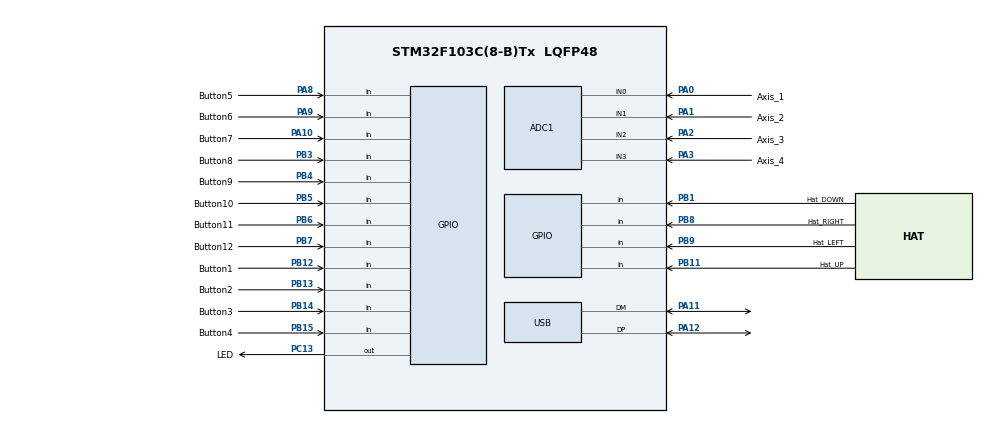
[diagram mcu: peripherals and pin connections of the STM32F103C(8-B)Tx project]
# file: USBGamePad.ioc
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ADC1.Channel-0\#ChannelRegularConversion=ADC_CHANNEL_0
ADC1.Channel-1\#ChannelRegularConversion=ADC_CHANNEL_1
ADC1.Channel-2\#ChannelRegularConversion=ADC_CHANNEL_2
ADC1.Channel-3\#ChannelRegularConversion=ADC_CHANNEL_3
ADC1.ContinuousConvMode=DISABLE
ADC1.DataAlign=ADC_DATAALIGN_RIGHT
ADC1.DiscontinuousConvMode=DISABLE
ADC1.EnableAnalogWatchDog=false
ADC1.EnableRegularConversion=ENABLE
ADC1.ExternalTrigConv=ADC_EXTERNALTRIGCONV_T3_TRGO
ADC1.InjNumberOfConversion=0
ADC1.NbrOfConversion=4
ADC1.NbrOfConversionFlag=1
ADC1.Rank-0\#ChannelRegularConversion=1
ADC1.Rank-1\#ChannelRegularConversion=2
ADC1.Rank-2\#ChannelRegularConversion=3
ADC1.Rank-3\#ChannelRegularConversion=4
ADC1.SamplingTime-0\#ChannelRegularConversion=ADC_SAMPLETIME_28CYCLES_5
ADC1.SamplingTime-1\#ChannelRegularConversion=ADC_SAMPLETIME_28CYCLES_5
ADC1.SamplingTime-2\#ChannelRegularConversion=ADC_SAMPLETIME_28CYCLES_5
ADC1.SamplingTime-3\#ChannelRegularConversion=ADC_SAMPLETIME_28CYCLES_5
ADC1.ScanConvMode=ADC_SCAN_ENABLE
ADC1.master=1
Dma.ADC1.0.Direction=DMA_PERIPH_TO_MEMORY
Dma.ADC1.0.Instance=DMA1_Channel1
Dma.ADC1.0.MemDataAlignment=DMA_MDATAALIGN_HALFWORD
Dma.ADC1.0.MemInc=DMA_MINC_ENABLE
Dma.ADC1.0.Mode=DMA_CIRCULAR
Dma.ADC1.0.PeriphDataAlignment=DMA_PDATAALIGN_HALFWORD
Dma.ADC1.0.PeriphInc=DMA_PINC_DISABLE
Dma.ADC1.0.Priority=DMA_PRIORITY_MEDIUM
Dma.Request0=ADC1
Mcu.Family=STM32F1
Mcu.Name=STM32F103C(8-B)Tx
Mcu.Package=LQFP48
NVIC.DMA1_Channel1_IRQn=true\:0\:0\:false\:false\:true\:false
NVIC.PriorityGroup=NVIC_PRIORITYGROUP_4
NVIC.TIM2_IRQn=true\:0\:0\:false\:false\:true\:true
NVIC.USB_LP_CAN1_RX0_IRQn=true\:0\:0\:false\:false\:true\:false
PA0-WKUP.GPIO_Label=Axis_1
PA0-WKUP.Signal=ADCx_IN0
PA1.GPIO_Label=Axis_2
PA1.Signal=ADCx_IN1
PA10.GPIO_Label=Button7
PA10.GPIO_PuPd=GPIO_PULLUP
PA10.Signal=GPIO_Input
PA11.Mode=Device
PA11.Signal=USB_DM
PA12.Mode=Device
PA12.Signal=USB_DP
PA13.Mode=Serial_Wire
PA13.Signal=SYS_JTMS-SWDIO
PA14.Mode=Serial_Wire
PA14.Signal=SYS_JTCK-SWCLK
PA2.GPIO_Label=Axis_3
PA2.Signal=ADCx_IN2
PA3.GPIO_Label=Axis_4
PA3.Signal=ADCx_IN3
PA8.GPIO_Label=Button5
PA8.GPIO_PuPd=GPIO_PULLUP
PA8.Signal=GPIO_Input
PA9.GPIO_Label=Button6
PA9.GPIO_PuPd=GPIO_PULLUP
PA9.Signal=GPIO_Input
PB1.GPIO_Label=Hat_DOWN
PB1.GPIO_PuPd=GPIO_PULLUP
PB1.Signal=GPIO_Input
PB11.GPIO_Label=Hat_UP
PB11.GPIO_PuPd=GPIO_PULLUP
PB11.Signal=GPIO_Input
PB12.GPIO_Label=Button1
PB12.GPIO_PuPd=GPIO_PULLUP
PB12.Signal=GPIO_Input
PB13.GPIO_Label=Button2
PB13.GPIO_PuPd=GPIO_PULLUP
PB13.Signal=GPIO_Input
PB14.GPIO_Label=Button3
PB14.GPIO_PuPd=GPIO_PULLUP
PB14.Signal=GPIO_Input
PB15.GPIO_Label=Button4
PB15.GPIO_PuPd=GPIO_PULLUP
PB15.Signal=GPIO_Input
PB3.GPIO_Label=Button8
PB3.GPIO_PuPd=GPIO_PULLUP
PB3.Signal=GPIO_Input
PB4.GPIO_Label=Button9
PB4.GPIO_PuPd=GPIO_PULLUP
PB4.Signal=GPIO_Input
PB5.GPIO_Label=Button10
PB5.GPIO_PuPd=GPIO_PULLUP
PB5.Signal=GPIO_Input
PB6.GPIO_Label=Button11
PB6.GPIO_PuPd=GPIO_PULLUP
PB6.Signal=GPIO_Input
PB7.GPIO_Label=Button12
PB7.GPIO_PuPd=GPIO_PULLUP
PB7.Signal=GPIO_Input
PB8.GPIO_Label=Hat_RIGHT
PB8.GPIO_PuPd=GPIO_PULLUP
PB8.Signal=GPIO_Input
PB9.GPIO_Label=Hat_LEFT
PB9.GPIO_PuPd=GPIO_PULLUP
PB9.Signal=GPIO_Input
PC13-TAMPER-RTC.GPIO_Label=LED
PC13-TAMPER-RTC.GPIO_Speed=GPIO_SPEED_FREQ_HIGH
PC13-TAMPER-RTC.Signal=GPIO_Output
PD0-OSC_IN.Mode=HSE-External-Oscillator
PD0-OSC_IN.Signal=RCC_OSC_IN
PD1-OSC_OUT.Mode=HSE-External-Oscillator
PD1-OSC_OUT.Signal=RCC_OSC_OUT
ProjectManager.HeapSize=0x200
ProjectManager.StackSize=0x400
ProjectManager.TargetToolchain=MDK-ARM V5
RCC.ADCPresc=RCC_ADCPCLK2_DIV6
RCC.AHBFreq_Value=72000000
RCC.APB1CLKDivider=RCC_HCLK_DIV2
RCC.APB1Freq_Value=36000000
RCC.APB1TimFreq_Value=72000000
RCC.APB2Freq_Value=72000000
RCC.APB2TimFreq_Value=72000000
RCC.HCLKFreq_Value=72000000
RCC.PLLMUL=RCC_PLL_MUL9
RCC.PLLSourceVirtual=RCC_PLLSOURCE_HSE
RCC.SYSCLKFreq_VALUE=72000000
RCC.SYSCLKSource=RCC_SYSCLKSOURCE_PLLCLK
RCC.USBFreq_Value=48000000
RCC.USBPrescaler=RCC_USBCLKSOURCE_PLL_DIV1_5
SH.ADCx_IN0.0=ADC1_IN0,IN0
SH.ADCx_IN1.0=ADC1_IN1,IN1
SH.ADCx_IN2.0=ADC1_IN2,IN2
SH.ADCx_IN3.0=ADC1_IN3,IN3
TIM2.Period=5000-1
TIM2.Prescaler=72-1
TIM3.Period=1000
TIM3.Prescaler=72
TIM3.TIM_MasterOutputTrigger=TIM_TRGO_UPDATE
USB.ep0_mps=DEP0CTL_MPS_64
USB_DEVICE.CLASS_NAME_FS=CUSTOMHID
USB_DEVICE.USBD_CUSTOM_HID_REPORT_DESC_SIZE=79
USB_DEVICE.VirtualMode=CustomHid
USB_DEVICE.VirtualModeFS=Custom_Hid_FS
VP_TIM2_VS_ClockSourceINT.Mode=Internal
VP_TIM3_VS_ClockSourceINT.Mode=Internal
VP_USB_DEVICE_VS_USB_DEVICE_CUSTOM_HID_FS.Mode=CUSTOM_HID_FS
board=custom

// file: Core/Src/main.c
/**
  ******************************************************************************
  * @file           : main.c
  * @brief          : Main program body
  ******************************************************************************
  * This notice applies to any and all portions of this file
  * that are not between comment pairs USER CODE BEGIN and
  * USER CODE END. Other portions of this file, whether
  * inserted by the user or by software development tools
  * are owned by their respective copyright owners.
  *
  * Copyright (c) 2018 STMicroelectronics International N.V.
  * All rights reserved.
  *
  * Redistribution and use in source and binary forms, with or without
  * modification, are permitted, provided that the following conditions are met:
  *
  * 1. Redistribution of source code must retain the above copyright notice,
  *    this list of conditions and the following disclaimer.
  * 2. Redistributions in binary form must reproduce the above copyright notice,
  *    this list of conditions and the following disclaimer in the documentation
  *    and/or other materials provided with the distribution.
  * 3. Neither the name of STMicroelectronics nor the names of other
  *    contributors to this software may be used to endorse or promote products
  *    derived from this software without specific written permission.
  * 4. This software, including modifications and/or derivative works of this
  *    software, must execute solely and exclusively on microcontroller or
  *    microprocessor devices manufactured by or for STMicroelectronics.
  * 5. Redistribution and use of this software other than as permitted under
  *    this license is void and will automatically terminate your rights under
  *    this license.
  *
  * THIS SOFTWARE IS PROVIDED BY STMICROELECTRONICS AND CONTRIBUTORS "AS IS"
  * AND ANY EXPRESS, IMPLIED OR STATUTORY WARRANTIES, INCLUDING, BUT NOT
  * LIMITED TO, THE IMPLIED WARRANTIES OF MERCHANTABILITY, FITNESS FOR A
  * PARTICULAR PURPOSE AND NON-INFRINGEMENT OF THIRD PARTY INTELLECTUAL PROPERTY
  * RIGHTS ARE DISCLAIMED TO THE FULLEST EXTENT PERMITTED BY LAW. IN NO EVENT
  * SHALL STMICROELECTRONICS OR CONTRIBUTORS BE LIABLE FOR ANY DIRECT, INDIRECT,
  * INCIDENTAL, SPECIAL, EXEMPLARY, OR CONSEQUENTIAL DAMAGES (INCLUDING, BUT NOT
  * LIMITED TO, PROCUREMENT OF SUBSTITUTE GOODS OR SERVICES; LOSS OF USE, DATA,
  * OR PROFITS; OR BUSINESS INTERRUPTION) HOWEVER CAUSED AND ON ANY THEORY OF
  * LIABILITY, WHETHER IN CONTRACT, STRICT LIABILITY, OR TORT (INCLUDING
  * NEGLIGENCE OR OTHERWISE) ARISING IN ANY WAY OUT OF THE USE OF THIS SOFTWARE,
  * EVEN IF ADVISED OF THE POSSIBILITY OF SUCH DAMAGE.
  *
  ******************************************************************************
  */
#include "main.h"
#include "stm32f1xx_hal.h"
#include "adc.h"
#include "dma.h"
#include "tim.h"
#include "usb_device.h"
#include "gpio.h"

/* USER CODE BEGIN Includes */
#include "multi_button.h"
/* USER CODE END Includes */

/* USER CODE BEGIN PV */
/* Private variables ---------------------------------------------------------*/
struct Button key1,key2,key3,key4,key5,key6,key7,key8,key9,key10,key11,key12,key13,key14,key15,key16;

uint16_t keyflag=0;//total 12 keys

#define BIT0 0x01
#define BIT1 0x02
#define BIT2 0x04
#define BIT3 0x08
#define BIT4 0x10
#define BIT5 0x20
#define BIT6 0x40
#define BIT7 0x80
#define BIT8 0x100
#define BIT9 0x200
#define BIT10 0x400
#define BIT11 0x800
#define BIT12 0x1000
#define BIT13 0x2000
#define BIT14 0x4000
#define BIT15 0x8000

/* USER CODE END PV */

void SystemClock_Config(void);

/* USER CODE BEGIN PFP */
/* Private function prototypes -----------------------------------------------*/

/* USER CODE END PFP */

/* USER CODE BEGIN 0 */

typedef enum {
	TM_USB_HIDDEVICE_Button_Released = 0x00, /*!< Button is not pressed */
	TM_USB_HIDDEVICE_Button_Pressed = 0x01   /*!< Button is pressed */
} TM_USB_HIDDEVICE_Button_t;

typedef enum {
	TM_USB_HIDDEVICE_HATSWITCH_NULL_STATE = 128, /*!< null state */
	TM_USB_HIDDEVICE_HATSWITCH_UP = 0,
	TM_USB_HIDDEVICE_HATSWITCH_RIGHT_UP = 1,
	TM_USB_HIDDEVICE_HATSWITCH_RIGHT = 2,
	TM_USB_HIDDEVICE_HATSWITCH_RIGHT_DOWN = 3,
	TM_USB_HIDDEVICE_HATSWITCH_DOWN = 4,
	TM_USB_HIDDEVICE_HATSWITCH_LEFT_DOWN = 5,
	TM_USB_HIDDEVICE_HATSWITCH_LEFT = 6,
	TM_USB_HIDDEVICE_HATSWITCH_LEFT_UP = 7,
} TM_USB_HIDDEVICE_HATSWITCH_t;
typedef struct TM_USB_HIDDEVICE_Gamepad{

	uint8_t XAxis;                   /*!< Left joystick X axis */
	uint8_t YAxis;                   /*!< Left joystick Y axis */
	uint8_t RotateZAxis;             /*!< Right joystick RZ axis */
	uint8_t ZAxis;                   /*!< Right joystick Z axis */

	TM_USB_HIDDEVICE_HATSWITCH_t HatSwitch;              /*!< "angle" is 0,45,90,135,180,225,270,315(0~7,any value >7 will make the hatswitch in the middle) This parameter can be a value of @ref TM_USB_HIDDEVICE_HATSWITCH_t enumeration*/

	TM_USB_HIDDEVICE_Button_t Button1;  /*!< Game pad button 1 status. This parameter can be a value of @ref TM_USB_HIDDEVICE_Button_t enumeration */
	TM_USB_HIDDEVICE_Button_t Button2;  /*!< Game pad button 2 status. This parameter can be a value of @ref TM_USB_HIDDEVICE_Button_t enumeration */
	TM_USB_HIDDEVICE_Button_t Button3;  /*!< Game pad button 3 status. This parameter can be a value of @ref TM_USB_HIDDEVICE_Button_t enumeration */
	TM_USB_HIDDEVICE_Button_t Button4;  /*!< Game pad button 4 status. This parameter can be a value of @ref TM_USB_HIDDEVICE_Button_t enumeration */
	TM_USB_HIDDEVICE_Button_t Button5;  /*!< Game pad button 5 status. This parameter can be a value of @ref TM_USB_HIDDEVICE_Button_t enumeration */
	TM_USB_HIDDEVICE_Button_t Button6;  /*!< Game pad button 6 status. This parameter can be a value of @ref TM_USB_HIDDEVICE_Button_t enumeration */
	TM_USB_HIDDEVICE_Button_t Button7;  /*!< Game pad button 7 status. This parameter can be a value of @ref TM_USB_HIDDEVICE_Button_t enumeration */
	TM_USB_HIDDEVICE_Button_t Button8;  /*!< Game pad button 8 status. This parameter can be a value of @ref TM_USB_HIDDEVICE_Button_t enumeration */
	TM_USB_HIDDEVICE_Button_t Button9;  /*!< Game pad button 9 status. This parameter can be a value of @ref TM_USB_HIDDEVICE_Button_t enumeration */
	TM_USB_HIDDEVICE_Button_t Button10; /*!< Game pad button 10 status. This parameter can be a value of @ref TM_USB_HIDDEVICE_Button_t enumeration */
	TM_USB_HIDDEVICE_Button_t Button11; /*!< Game pad button 11 status. This parameter can be a value of @ref TM_USB_HIDDEVICE_Button_t enumeration */
	TM_USB_HIDDEVICE_Button_t Button12; /*!< Game pad button 12 status. This parameter can be a value of @ref TM_USB_HIDDEVICE_Button_t enumeration */

	TM_USB_HIDDEVICE_Button_t Button13;
	TM_USB_HIDDEVICE_Button_t Button14;
	TM_USB_HIDDEVICE_Button_t Button15;
	TM_USB_HIDDEVICE_Button_t Button16;

} TM_USB_HIDDEVICE_Gamepad_t;

int TM_USB_HIDDEVICE_GamepadSend(TM_USB_HIDDEVICE_Gamepad_t* Gamepad_Data)
{
	uint8_t buff[8];

	/* Buttons pressed, byte 1 */
	buff[0] = 0;
	buff[0] |= Gamepad_Data->Button1 	<< 0;	/* Bit 0 */
	buff[0] |= Gamepad_Data->Button2 	<< 1;	/* Bit 1 */
	buff[0] |= Gamepad_Data->Button3 	<< 2;	/* Bit 2 */
	buff[0] |= Gamepad_Data->Button4 	<< 3;	/* Bit 3 */
	buff[0] |= Gamepad_Data->Button5 	<< 4;	/* Bit 4 */
	buff[0] |= Gamepad_Data->Button6 	<< 5;	/* Bit 5 */
	buff[0] |= Gamepad_Data->Button7 	<< 6;	/* Bit 6 */
	buff[0] |= Gamepad_Data->Button8 	<< 7;	/* Bit 7 */

	/* Buttons pressed, byte 2 */
	buff[1] = 0;
	buff[1] |= Gamepad_Data->Button9  	<< 0;	/* Bit 0 */
	buff[1] |= Gamepad_Data->Button10 	<< 1;	/* Bit 1 */
	buff[1] |= Gamepad_Data->Button11 	<< 2;	/* Bit 2 */
	buff[1] |= Gamepad_Data->Button12 	<< 3;	/* Bit 3 */

	/* Left joystick*/
	buff[2] = Gamepad_Data->XAxis;
	buff[3] = Gamepad_Data->YAxis;

	/* Right joystick*/
	buff[4] = Gamepad_Data->ZAxis;
	buff[5] = Gamepad_Data->RotateZAxis;

	buff[6] = Gamepad_Data->HatSwitch;

	buff[7] = 0;

	/* Send to USB gamepad data */
	USBD_CUSTOM_HID_SendReport(&hUsbDeviceFS, buff, 8);

	/* Return connected */
	return 0;
}

TM_USB_HIDDEVICE_Gamepad_t Gamepad_Data;

/*
		     |  bit7		|   bit6	 |	  bit5	|	   bit4	 |	  bit3	|	   bit2	 |   bit1	  |   bit0   |
------------------------------------------------------------------------------------------------
| byte0  |  Button8 | Button7  | Button6  |  Button5 | Button4  |  Button3 |  Button2 |  Button1 |
------------------------------------------------------------------------------------------------
| byte1  |                   Reserved                | Button12 |  Butto11 | Butto10  |  Butto9  |
------------------------------------------------------------------------------------------------
| byte2  |          XAxis                                                                        |
------------------------------------------------------------------------------------------------
| byte3  |         YAxis                                                                         |
------------------------------------------------------------------------------------------------
| byte4  |         ZAxis                                                                         |
------------------------------------------------------------------------------------------------
| byte5  |        RotateZAxis                                                                    |
------------------------------------------------------------------------------------------------
| byte6  |       Hat switch                                                                      |
------------------------------------------------------------------------------------------------
| byte7  |                                           Reserved                                    |
------------------------------------------------------------------------------------------------
*/

#define FILTER_WINDOW_SIZE			10

uint16_t FilterWindow (uint32_t * p_buf, uint16_t new_val)
{
	uint16_t ret;

	p_buf[FILTER_WINDOW_SIZE-1] = new_val;

	for (uint8_t i=2; i<=FILTER_WINDOW_SIZE; i++)
	{
		p_buf[FILTER_WINDOW_SIZE-1] += p_buf[FILTER_WINDOW_SIZE - i];
	}

	p_buf[FILTER_WINDOW_SIZE-1] /= FILTER_WINDOW_SIZE;

	ret = p_buf[FILTER_WINDOW_SIZE-1];

	for (int i=0; i<FILTER_WINDOW_SIZE; i++)
	{
		p_buf[i-1] = p_buf[i];
	}

		return ret;
}
int flag=0;
uint16_t ADC_data[4];
uint8_t data_ready = 0;
uint32_t filter_buf[4][FILTER_WINDOW_SIZE];

uint8_t read_key1_GPIO()
{
    return HAL_GPIO_ReadPin(key1_GPIO_Port, key1_Pin);
}
uint8_t read_key2_GPIO()
{
    return HAL_GPIO_ReadPin(key2_GPIO_Port, key2_Pin);
}
uint8_t read_key3_GPIO()
{
    return HAL_GPIO_ReadPin(key3_GPIO_Port, key3_Pin);
}
uint8_t read_key4_GPIO()
{
    return HAL_GPIO_ReadPin(key4_GPIO_Port, key4_Pin);
}
uint8_t read_key5_GPIO()
{
    return HAL_GPIO_ReadPin(key5_GPIO_Port, key5_Pin);
}
uint8_t read_key6_GPIO()
{
    return HAL_GPIO_ReadPin(key6_GPIO_Port, key6_Pin);
}
uint8_t read_key7_GPIO()
{
    return HAL_GPIO_ReadPin(key7_GPIO_Port, key7_Pin);
}
uint8_t read_key8_GPIO()
{
    return HAL_GPIO_ReadPin(key8_GPIO_Port, key8_Pin);
}
uint8_t read_key9_GPIO()
{
    return HAL_GPIO_ReadPin(key9_GPIO_Port, key9_Pin);
}
uint8_t read_key10_GPIO()
{
    return HAL_GPIO_ReadPin(key10_GPIO_Port, key10_Pin);
}
uint8_t read_key11_GPIO()
{
    return HAL_GPIO_ReadPin(key11_GPIO_Port, key11_Pin);
}
uint8_t read_key12_GPIO()
{
    return HAL_GPIO_ReadPin(key12_GPIO_Port, key12_Pin);
}
uint8_t read_key13_GPIO()
{
    return HAL_GPIO_ReadPin(key13_GPIO_Port, key13_Pin);
}
uint8_t read_key14_GPIO()
{
    return HAL_GPIO_ReadPin(key14_GPIO_Port, key14_Pin);
}
uint8_t read_key15_GPIO()
{
    return HAL_GPIO_ReadPin(key15_GPIO_Port, key15_Pin);
}
uint8_t read_key16_GPIO()
{
    return HAL_GPIO_ReadPin(key16_GPIO_Port, key16_Pin);
}

void key1_PRESS_DOWN_Handler(void* btn)
{
  keyflag|=BIT0;
	Gamepad_Data.Button1=TM_USB_HIDDEVICE_Button_Pressed;
}
void key1_PRESS_UP_Handler(void* btn)
{
  keyflag&=~BIT0;
	Gamepad_Data.Button1=TM_USB_HIDDEVICE_Button_Released;
}
void key2_PRESS_DOWN_Handler(void* btn)
{
  keyflag|=BIT1;
	Gamepad_Data.Button2=TM_USB_HIDDEVICE_Button_Pressed;
}
void key2_PRESS_UP_Handler(void* btn)
{
  keyflag&=~BIT1;
	Gamepad_Data.Button2=TM_USB_HIDDEVICE_Button_Released;
}
void key3_PRESS_DOWN_Handler(void* btn)
{
  keyflag|=BIT2;
	Gamepad_Data.Button3=TM_USB_HIDDEVICE_Button_Pressed;
}
void key3_PRESS_UP_Handler(void* btn)
{
  keyflag&=~BIT2;
	Gamepad_Data.Button3=TM_USB_HIDDEVICE_Button_Released;
}
void key4_PRESS_DOWN_Handler(void* btn)
{
  keyflag|=BIT3;
	Gamepad_Data.Button4=TM_USB_HIDDEVICE_Button_Pressed;
}
void key4_PRESS_UP_Handler(void* btn)
{
  keyflag&=~BIT3;
	Gamepad_Data.Button4=TM_USB_HIDDEVICE_Button_Released;
}
void key5_PRESS_DOWN_Handler(void* btn)
{
  keyflag|=BIT4;
	Gamepad_Data.Button5=TM_USB_HIDDEVICE_Button_Pressed;
}
void key5_PRESS_UP_Handler(void* btn)
{
  keyflag&=~BIT4;
	Gamepad_Data.Button5=TM_USB_HIDDEVICE_Button_Released;
}
void key6_PRESS_DOWN_Handler(void* btn)
{
  keyflag|=BIT5;
	Gamepad_Data.Button6=TM_USB_HIDDEVICE_Button_Pressed;
}
void key6_PRESS_UP_Handler(void* btn)
{
  keyflag&=~BIT5;
	Gamepad_Data.Button6=TM_USB_HIDDEVICE_Button_Released;
}
void key7_PRESS_DOWN_Handler(void* btn)
{
  keyflag|=BIT6;
	Gamepad_Data.Button7=TM_USB_HIDDEVICE_Button_Pressed;
}
void key7_PRESS_UP_Handler(void* btn)
{
  keyflag&=~BIT6;
	Gamepad_Data.Button7=TM_USB_HIDDEVICE_Button_Released;
}
void key8_PRESS_DOWN_Handler(void* btn)
{
  keyflag|=BIT7;
	Gamepad_Data.Button8=TM_USB_HIDDEVICE_Button_Pressed;
}
void key8_PRESS_UP_Handler(void* btn)
{
  keyflag&=~BIT7;
	Gamepad_Data.Button8=TM_USB_HIDDEVICE_Button_Released;
}
void key9_PRESS_DOWN_Handler(void* btn)
{
  keyflag|=BIT8;
	Gamepad_Data.Button9=TM_USB_HIDDEVICE_Button_Pressed;
}
void key9_PRESS_UP_Handler(void* btn)
{
  keyflag&=~BIT8;
	Gamepad_Data.Button9=TM_USB_HIDDEVICE_Button_Released;
}
void key10_PRESS_DOWN_Handler(void* btn)
{
  keyflag|=BIT9;
	Gamepad_Data.Button10=TM_USB_HIDDEVICE_Button_Pressed;
}
void key10_PRESS_UP_Handler(void* btn)
{
  keyflag&=~BIT9;
	Gamepad_Data.Button10=TM_USB_HIDDEVICE_Button_Released;
}
void key11_PRESS_DOWN_Handler(void* btn)
{
  keyflag|=BIT10;
	Gamepad_Data.Button11=TM_USB_HIDDEVICE_Button_Pressed;
}
void key11_PRESS_UP_Handler(void* btn)
{
  keyflag&=~BIT10;
	Gamepad_Data.Button11=TM_USB_HIDDEVICE_Button_Released;
}
void key12_PRESS_DOWN_Handler(void* btn)
{
  keyflag|=BIT11;
	Gamepad_Data.Button12=TM_USB_HIDDEVICE_Button_Pressed;
}
void key12_PRESS_UP_Handler(void* btn)
{
  keyflag&=~BIT11;
	Gamepad_Data.Button12=TM_USB_HIDDEVICE_Button_Released;
}

//hat
void key13_PRESS_DOWN_Handler(void* btn)
{
  keyflag|=BIT12;
	Gamepad_Data.HatSwitch=TM_USB_HIDDEVICE_HATSWITCH_LEFT;
}
void key13_PRESS_UP_Handler(void* btn)
{
  keyflag&=~BIT12;
	Gamepad_Data.HatSwitch=TM_USB_HIDDEVICE_HATSWITCH_NULL_STATE;
}

void key14_PRESS_DOWN_Handler(void* btn)
{
  keyflag|=BIT13;
	Gamepad_Data.HatSwitch=TM_USB_HIDDEVICE_HATSWITCH_RIGHT;
}
void key14_PRESS_UP_Handler(void* btn)
{
  keyflag&=~BIT13;
	Gamepad_Data.HatSwitch=TM_USB_HIDDEVICE_HATSWITCH_NULL_STATE;
}

void key15_PRESS_DOWN_Handler(void* btn)
{
  keyflag|=BIT14;
	Gamepad_Data.HatSwitch=TM_USB_HIDDEVICE_HATSWITCH_UP;
}
void key15_PRESS_UP_Handler(void* btn)
{
  keyflag&=~BIT14;
	Gamepad_Data.HatSwitch=TM_USB_HIDDEVICE_HATSWITCH_NULL_STATE;
}

void key16_PRESS_DOWN_Handler(void* btn)
{
  keyflag|=BIT15;
	Gamepad_Data.HatSwitch=TM_USB_HIDDEVICE_HATSWITCH_DOWN;
}
void key16_PRESS_UP_Handler(void* btn)
{
  keyflag&=~BIT15;
	Gamepad_Data.HatSwitch=TM_USB_HIDDEVICE_HATSWITCH_NULL_STATE;
}
void UserKeys_Init(void)
{

  button_init(&key1, read_key1_GPIO, 0);//key is Low voltage valid
  button_attach(&key1, PRESS_DOWN,  key1_PRESS_DOWN_Handler);
	button_attach(&key1, PRESS_UP,    key1_PRESS_UP_Handler);
  button_start(&key1);

  button_init(&key2, read_key2_GPIO, 0);//key is Low voltage valid
  button_attach(&key2, PRESS_DOWN,  key2_PRESS_DOWN_Handler);
	button_attach(&key2, PRESS_UP,    key2_PRESS_UP_Handler);
  button_start(&key2);

  button_init(&key3, read_key3_GPIO, 0);//key is Low voltage valid
  button_attach(&key3, PRESS_DOWN,  key3_PRESS_DOWN_Handler);
	button_attach(&key3, PRESS_UP,    key3_PRESS_UP_Handler);
  button_start(&key3);

  button_init(&key4, read_key4_GPIO, 0);//key is Low voltage valid
  button_attach(&key4, PRESS_DOWN,  key4_PRESS_DOWN_Handler);
	button_attach(&key4, PRESS_UP,    key4_PRESS_UP_Handler);
  button_start(&key4);

  button_init(&key5, read_key5_GPIO, 0);//key is Low voltage valid
  button_attach(&key5, PRESS_DOWN,  key5_PRESS_DOWN_Handler);
	button_attach(&key5, PRESS_UP,    key5_PRESS_UP_Handler);
  button_start(&key5);

  button_init(&key6, read_key6_GPIO, 0);//key is Low voltage valid
  button_attach(&key6, PRESS_DOWN,  key6_PRESS_DOWN_Handler);
	button_attach(&key6, PRESS_UP,    key6_PRESS_UP_Handler);
  button_start(&key6);

  button_init(&key7, read_key7_GPIO, 0);//key is Low voltage valid
  button_attach(&key7, PRESS_DOWN,  key7_PRESS_DOWN_Handler);
	button_attach(&key7, PRESS_UP,    key7_PRESS_UP_Handler);
  button_start(&key7);

  button_init(&key8, read_key8_GPIO, 0);//key is Low voltage valid
  button_attach(&key8, PRESS_DOWN,  key8_PRESS_DOWN_Handler);
	button_attach(&key8, PRESS_UP,    key8_PRESS_UP_Handler);
  button_start(&key8);

	button_init(&key9, read_key9_GPIO, 0);//key is Low voltage valid
  button_attach(&key9, PRESS_DOWN,  key9_PRESS_DOWN_Handler);
	button_attach(&key9, PRESS_UP,    key9_PRESS_UP_Handler);
  button_start(&key9);

	button_init(&key10, read_key10_GPIO, 0);//key is Low voltage valid
  button_attach(&key10, PRESS_DOWN,  key10_PRESS_DOWN_Handler);
	button_attach(&key10, PRESS_UP,    key10_PRESS_UP_Handler);
  button_start(&key10);

	button_init(&key11, read_key11_GPIO, 0);//key is Low voltage valid
  button_attach(&key11, PRESS_DOWN,  key11_PRESS_DOWN_Handler);
	button_attach(&key11, PRESS_UP,    key11_PRESS_UP_Handler);
  button_start(&key11);

	button_init(&key12, read_key12_GPIO, 0);//key is Low voltage valid
  button_attach(&key12, PRESS_DOWN,  key12_PRESS_DOWN_Handler);
	button_attach(&key12, PRESS_UP,    key12_PRESS_UP_Handler);
  button_start(&key12);

	button_init(&key13, read_key13_GPIO, 0);//key is Low voltage valid
  button_attach(&key13, PRESS_DOWN,  key13_PRESS_DOWN_Handler);
	button_attach(&key13, PRESS_UP,    key13_PRESS_UP_Handler);
  button_start(&key13);

	button_init(&key14, read_key14_GPIO, 0);//key is Low voltage valid
  button_attach(&key14, PRESS_DOWN, key14_PRESS_DOWN_Handler);
	button_attach(&key14, PRESS_UP,    key14_PRESS_UP_Handler);
  button_start(&key14);

	button_init(&key15, read_key15_GPIO, 0);//key is Low voltage valid
  button_attach(&key15, PRESS_DOWN, key15_PRESS_DOWN_Handler);
	button_attach(&key15, PRESS_UP,    key15_PRESS_UP_Handler);
  button_start(&key15);

	button_init(&key16, read_key16_GPIO, 0);//key is Low voltage valid
  button_attach(&key16, PRESS_DOWN, key16_PRESS_DOWN_Handler);
	button_attach(&key16, PRESS_UP,    key16_PRESS_UP_Handler);
  button_start(&key16);
}
void HAL_TIM_PeriodElapsedCallback(TIM_HandleTypeDef *htim)
{
  if(htim->Instance ==TIM2)//tim2 5ms
  {
    button_ticks();//recommand 5ms for key scan
  }
}

/* USER CODE END 0 */

int main(void)
{

  /* MCU Configuration----------------------------------------------------------*/

  /* Reset of all peripherals, Initializes the Flash interface and the Systick. */
  HAL_Init();

  /* Configure the system clock */
  SystemClock_Config();

  /* Initialize all configured peripherals */
  MX_GPIO_Init();
  MX_DMA_Init();
  MX_USB_DEVICE_Init();
  MX_ADC1_Init();
  MX_TIM3_Init();
  MX_TIM2_Init();
  /* USER CODE BEGIN 2 */

	if (HAL_TIM_Base_Start_IT(&htim3) != HAL_OK)
	{
		Error_Handler();
	}
  if (HAL_ADC_Start_DMA(&hadc1,(uint32_t*)&ADC_data[0],4*sizeof(uint16_t)) != HAL_OK)
	{
		Error_Handler();
	}

	if (HAL_TIM_Base_Start_IT(&htim2) != HAL_OK)
	{
		Error_Handler();
	}

	UserKeys_Init();

	Gamepad_Data.HatSwitch=TM_USB_HIDDEVICE_HATSWITCH_NULL_STATE;

  /* USER CODE END 2 */

  /* Infinite loop */
  while (1)
  {

  /* USER CODE BEGIN 3 */

//				for(int i=0;i<=255;i++)
//				{
//				//	Gamepad_Data.HatSwitch = i;
//
//					Gamepad_Data.ZAxis += 1;
//
//					Gamepad_Data.RotateZAxis += 1;
//
//					//Gamepad_Data.XAxis+=1;
//
//					Gamepad_Data.YAxis+=1;
//
//					if(flag)
//					{
//						Gamepad_Data.Button1=TM_USB_HIDDEVICE_Button_Pressed;
//						Gamepad_Data.Button3=TM_USB_HIDDEVICE_Button_Pressed;
//						Gamepad_Data.Button6=TM_USB_HIDDEVICE_Button_Pressed;
//						Gamepad_Data.Button8=TM_USB_HIDDEVICE_Button_Pressed;
//						Gamepad_Data.Button10=TM_USB_HIDDEVICE_Button_Pressed;
//						Gamepad_Data.Button12=TM_USB_HIDDEVICE_Button_Pressed;
//					}
//					else
//					{
//						Gamepad_Data.Button1=TM_USB_HIDDEVICE_Button_Released;
//						Gamepad_Data.Button3=TM_USB_HIDDEVICE_Button_Released;
//						Gamepad_Data.Button6=TM_USB_HIDDEVICE_Button_Released;
//						Gamepad_Data.Button8=TM_USB_HIDDEVICE_Button_Released;
//						Gamepad_Data.Button10=TM_USB_HIDDEVICE_Button_Released;
//						Gamepad_Data.Button12=TM_USB_HIDDEVICE_Button_Released;
//					}
//					TM_USB_HIDDEVICE_GamepadSend(&Gamepad_Data);
//					LL_mDelay(10);
//					flag=!flag;
//					HAL_GPIO_TogglePin(LED_GPIO_Port, LED_Pin);
//				}
		if (data_ready != 0)
		{

			Gamepad_Data.XAxis = 255*FilterWindow(filter_buf[0], ADC_data[0])/4095.0;
			Gamepad_Data.YAxis= 255*FilterWindow(filter_buf[1], ADC_data[1])/4095.0;
			Gamepad_Data.ZAxis= 255*FilterWindow(filter_buf[2], ADC_data[2])/4095.0;
			Gamepad_Data.RotateZAxis= 255*FilterWindow(filter_buf[3], ADC_data[3])/4095.0;

			TM_USB_HIDDEVICE_GamepadSend(&Gamepad_Data);

			HAL_GPIO_TogglePin(LED_GPIO_Port, LED_Pin);

			data_ready = 0;
		}
  }
  /* USER CODE END 3 */

}

void SystemClock_Config(void)
{

  LL_FLASH_SetLatency(LL_FLASH_LATENCY_2);

   if(LL_FLASH_GetLatency() != LL_FLASH_LATENCY_2)
  {
    Error_Handler();
  }
  LL_RCC_HSE_Enable();

   /* Wait till HSE is ready */
  while(LL_RCC_HSE_IsReady() != 1)
  {

  }
  LL_RCC_PLL_ConfigDomain_SYS(LL_RCC_PLLSOURCE_HSE_DIV_1, LL_RCC_PLL_MUL_9);

  LL_RCC_PLL_Enable();

   /* Wait till PLL is ready */
  while(LL_RCC_PLL_IsReady() != 1)
  {

  }
  LL_RCC_SetAHBPrescaler(LL_RCC_SYSCLK_DIV_1);

  LL_RCC_SetAPB1Prescaler(LL_RCC_APB1_DIV_2);

  LL_RCC_SetAPB2Prescaler(LL_RCC_APB2_DIV_1);

  LL_RCC_SetSysClkSource(LL_RCC_SYS_CLKSOURCE_PLL);

   /* Wait till System clock is ready */
  while(LL_RCC_GetSysClkSource() != LL_RCC_SYS_CLKSOURCE_STATUS_PLL)
  {

  }
  LL_Init1msTick(72000000);

  LL_SYSTICK_SetClkSource(LL_SYSTICK_CLKSOURCE_HCLK);

  LL_SetSystemCoreClock(72000000);

  LL_RCC_SetADCClockSource(LL_RCC_ADC_CLKSRC_PCLK2_DIV_6);

  LL_RCC_SetUSBClockSource(LL_RCC_USB_CLKSOURCE_PLL_DIV_1_5);

  /* SysTick_IRQn interrupt configuration */
  NVIC_SetPriority(SysTick_IRQn, NVIC_EncodePriority(NVIC_GetPriorityGrouping(),0, 0));
}

void _Error_Handler(char *file, int line)
{
  while(1)
  {
  }
}

/************************ (C) COPYRIGHT STMicroelectronics *****END OF FILE****/
